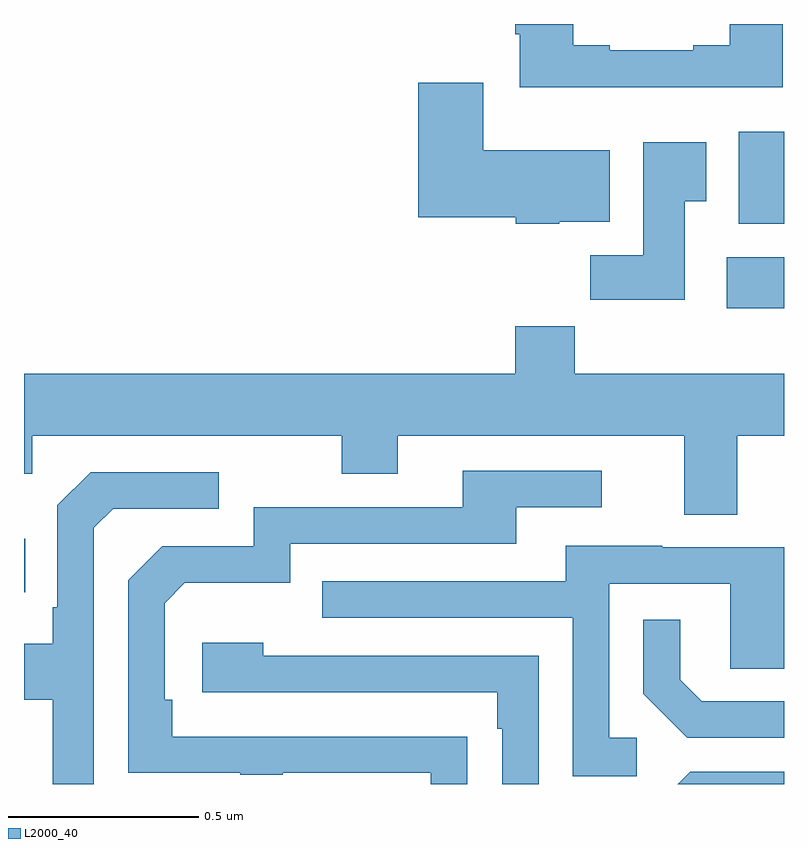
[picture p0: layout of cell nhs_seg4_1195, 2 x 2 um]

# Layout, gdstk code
import gdstk
lib = gdstk.Library(unit=1e-6, precision=1e-09)
def R(c, l, rs):  # rectangles x0, y0, x1, y1
    for r in rs: c.add(gdstk.rectangle(r[:2], r[2:], *l))
def P(c, l, *ps):  # polygons
    for p in ps: c.add(gdstk.Polygon(p, *l))
L2000_40 = (2000, 40)

nhs_seg4_1195 = lib.new_cell('nhs_seg4_1195')
R(nhs_seg4_1195, L2000_40, [(125,800.405,125.003,800.545), (126.849,801.152,127,801.286), (126.881,801.374,127,801.616)])
P(nhs_seg4_1195, L2000_40, [(126.997,801.9),(126.857,801.9),(126.857,801.844),(126.761,801.844),(126.761,801.831),(126.541,801.831),(126.541,801.844),(126.445,801.844),(126.445,801.9),(126.293,801.9),(126.293,801.873),(126.305,801.873),(126.305,801.734),(126.997,801.734)],
  [(126.408,801.38),(126.541,801.38),(126.541,801.568),(126.208,801.568),(126.208,801.745),(126.038,801.745),(126.038,801.392),(126.294,801.392),(126.294,801.374),(126.408,801.374)],
  [(126.739,801.433),(126.796,801.433),(126.796,801.589),(126.629,801.589),(126.629,801.292),(126.49,801.292),(126.49,801.174),(126.739,801.174)],
  [(126.877,800.816),(127,800.816),(127,800.98),(126.449,800.98),(126.449,801.104),(126.293,801.104),(126.293,800.98),(125,800.98),(125,800.717),(125.022,800.717),(125.022,800.816),(125.836,800.816),(125.836,800.717),(125.983,800.717),(125.983,800.816),(126.737,800.816),(126.737,800.608),(126.877,800.608)],
  [(126.167,800.024),(126.065,800.024),(126.065,800.025),(125.39,800.025),(125.39,800.122),(125.37,800.122),(125.37,800.376),(125.423,800.429),(125.7,800.429),(125.7,800.532),(126.295,800.532),(126.295,800.628),(126.52,800.628),(126.52,800.724),(126.155,800.724),(126.155,800.628),(125.604,800.628),(125.604,800.526),(125.364,800.526),(125.274,800.436),(125.274,799.929),(125.569,799.929),(125.569,799.924),(125.681,799.924),(125.681,799.929),(126.071,799.929),(126.071,799.9),(126.167,799.9)],
  [(125.184,800.574),(125.235,800.625),(125.512,800.625),(125.512,800.721),(125.175,800.721),(125.088,800.634),(125.088,800.365),(125.076,800.365),(125.076,800.269),(125,800.269),(125,800.122),(125.076,800.122),(125.076,799.9),(125.184,799.9)],
  [(126.613,800.022),(126.54,800.022),(126.54,800.427),(126.858,800.427),(126.858,800.203),(127,800.203),(127,800.523),(126.679,800.523),(126.679,800.527),(126.425,800.527),(126.425,800.433),(125.785,800.433),(125.785,800.337),(126.444,800.337),(126.444,799.921),(126.613,799.921)],
  [(127,800.118),(126.784,800.118),(126.727,800.175),(126.727,800.332),(126.63,800.332),(126.63,800.138),(126.746,800.022),(127,800.022)],
  [(126.354,800.238),(125.63,800.238),(125.63,800.272),(125.469,800.272),(125.469,800.142),(126.245,800.142),(126.245,800.045),(126.258,800.045),(126.258,799.9),(126.354,799.9)],
  [(127,799.932),(126.753,799.932),(126.721,799.9),(127,799.9)])

lib.write_gds('nhs_seg4_1195.gds')
